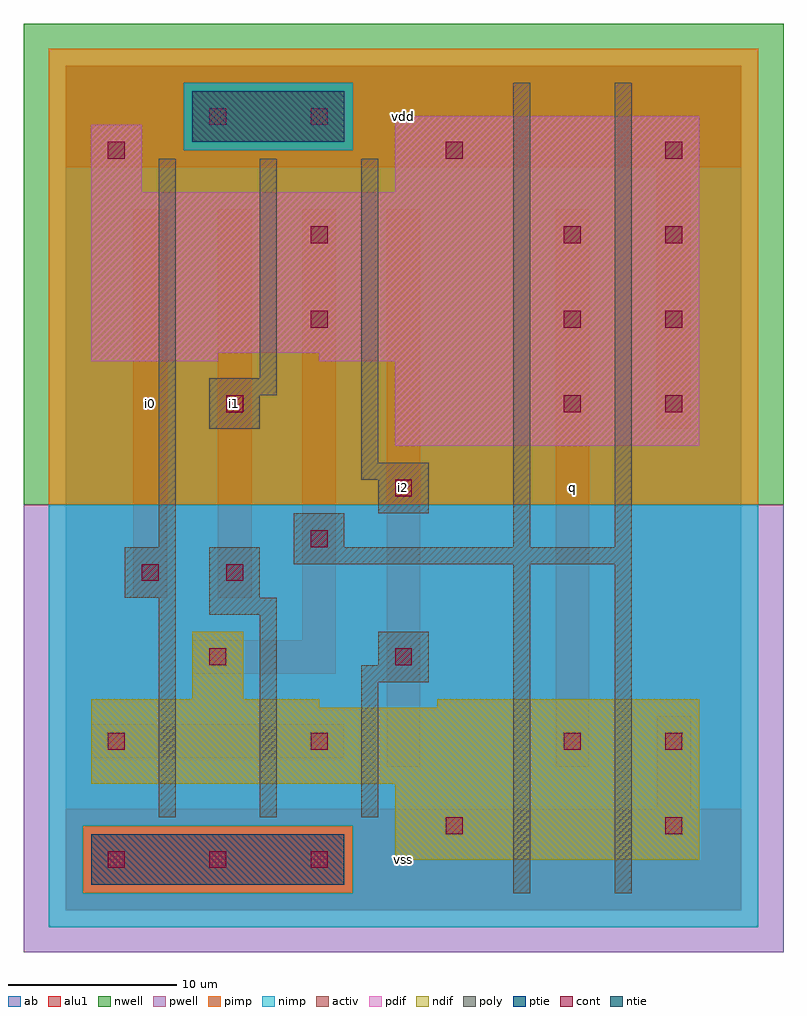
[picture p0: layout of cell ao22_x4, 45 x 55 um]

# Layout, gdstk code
import gdstk
lib = gdstk.Library(unit=1e-6, precision=1e-09)
def R(c, l, rs):  # rectangles x0, y0, x1, y1
    for r in rs: c.add(gdstk.rectangle(r[:2], r[2:], *l))
def A(c, l, x, y, w, h, nx, ny, dx, dy):  # array of equal rectangles
    R(c, l, [(x+i*dx, y+j*dy, x+i*dx+w, y+j*dy+h) for i in range(nx) for j in range(ny)])
ndif = (3, 0)
pdif = (4, 0)
ntie = (5, 0)
ptie = (6, 0)
cont = (25, 0)
pwell = (41, 0)
nwell = (42, 0)
activ = (43, 0)
pimp = (44, 0)
nimp = (45, 0)
poly = (46, 0)
alu1 = (49, 0)
ab = (63, 0)

ao22_x4 = lib.new_cell('ao22_x4')
R(ao22_x4, ndif, [(19.5,3,37.5,7.5), (1.5,7.5,37.5,12), (1.5,12,15,12.5), (22,12,37.5,12.5), (7.5,12.5,10.5,16.5)])
R(ao22_x4, pdif, [(19.5,27.5,37.5,32.5), (1.5,32.5,9,33), (15,32.5,37.5,33), (1.5,33,37.5,42.5), (1.5,42.5,4.5,46.5), (19.5,42.5,37.5,47)])
R(ao22_x4, ntie, [(7.5,45.5,16.5,48.5)])
R(ao22_x4, ptie, [(1.5,1.5,16.5,4.5)])
A(ao22_x4, cont, 2.5, 2.5, 1, 1, 3, 1, 6, 0)
A(ao22_x4, cont, 29.5, 29.5, 1, 1, 1, 3, 0, 5)
A(ao22_x4, cont, 35.5, 29.5, 1, 1, 1, 4, 0, 5)
R(ao22_x4, cont, [(22.5,4.5,23.5,5.5), (35.5,4.5,36.5,5.5), (2.5,9.5,3.5,10.5), (14.5,9.5,15.5,10.5), (29.5,9.5,30.5,10.5), (35.5,9.5,36.5,10.5), (8.5,14.5,9.5,15.5), (19.5,14.5,20.5,15.5), (4.5,19.5,5.5,20.5), (9.5,19.5,10.5,20.5), (14.5,21.5,15.5,22.5), (19.5,24.5,20.5,25.5), (9.5,29.5,10.5,30.5), (14.5,34.5,15.5,35.5), (14.5,39.5,15.5,40.5), (2.5,44.5,3.5,45.5), (22.5,44.5,23.5,45.5), (8.5,46.5,9.5,47.5), (14.5,46.5,15.5,47.5)])
R(ao22_x4, pwell, [(-2.5,-2.5,42.5,24)])
R(ao22_x4, nwell, [(-2.5,24,42.5,52.5)])
R(ao22_x4, activ, [(1.5,1.5,16.5,4.5), (19.5,3,37.5,7.5), (1.5,7.5,37.5,12), (1.5,12,15,12.5), (22,12,37.5,12.5), (7.5,12.5,10.5,16.5), (19.5,27.5,37.5,32.5), (1.5,32.5,9,33), (15,32.5,37.5,33), (1.5,33,37.5,42.5), (1.5,42.5,4.5,46.5), (19.5,42.5,37.5,47), (7.5,45.5,16.5,48.5)])
R(ao22_x4, pimp, [(1,1,17,5), (-1,24,41,45), (-1,45,7,49), (17,45,41,49), (-1,49,41,51)])
R(ao22_x4, nimp, [(-1,-1,41,1), (-1,1,1,5), (17,1,41,5), (-1,5,41,24), (7,45,17,49)])
R(ao22_x4, poly, [(26.5,1,27.5,20.5), (32.5,1,33.5,20.5), (5.5,5.5,6.5,18.5), (11.5,5.5,12.5,17.5), (17.5,5.5,18.5,13.5), (17.5,13.5,21.5,14.5), (18.5,14.5,21.5,16.5), (8.5,17.5,12.5,18.5), (3.5,18.5,6.5,21.5), (8.5,18.5,11.5,21.5), (13.5,20.5,33.5,21.5), (5.5,21.5,6.5,44.5), (13.5,21.5,16.5,23.5), (26.5,21.5,27.5,49), (32.5,21.5,33.5,49), (18.5,23.5,21.5,25.5), (17.5,25.5,21.5,26.5), (17.5,26.5,18.5,44.5), (8.5,28.5,11.5,30.5), (8.5,30.5,12.5,31.5), (11.5,31.5,12.5,44.5)])
R(ao22_x4, alu1, [(0,0,40,6), (0,0,40,6), (35,6,37,11.5), (35,6,37,11.5), (19,8.5,21,41.5), (19,8.5,21,41.5), (29,8.5,31,41.5), (29,8.5,31,41.5), (1.5,9,16.5,11), (1.5,9,16.5,11), (7.5,14,16,16), (7.5,14,16,16), (14,16,16,41.5), (14,16,16,41.5), (4,18.5,6,41.5), (4,18.5,6,41.5), (9,18.5,11,41.5), (9,18.5,11,41.5), (35,28.5,37,44), (35,28.5,37,44), (0,44,40,50), (0,44,40,50)])
R(ao22_x4, ab, [(0,0,40,50)])
ao22_x4.add(gdstk.Label('i0', (5,30), layer=49, texttype=0))
ao22_x4.add(gdstk.Label('i1', (10,30), layer=49, texttype=0))
ao22_x4.add(gdstk.Label('vss', (20,3), layer=49, texttype=0))
ao22_x4.add(gdstk.Label('i2', (20,25), layer=49, texttype=0))
ao22_x4.add(gdstk.Label('vdd', (20,47), layer=49, texttype=0))
ao22_x4.add(gdstk.Label('q', (30,25), layer=49, texttype=0))

lib.write_gds('ao22_x4.gds')
